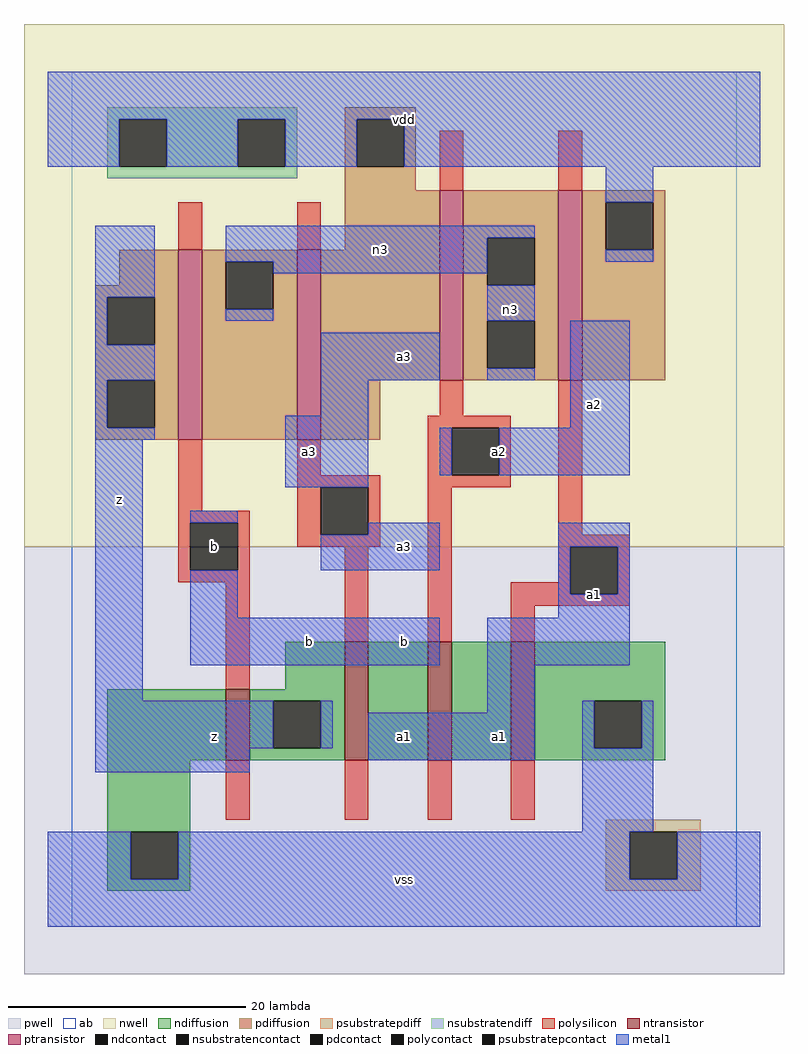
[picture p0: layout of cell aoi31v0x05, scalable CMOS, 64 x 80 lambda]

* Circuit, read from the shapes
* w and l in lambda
.subckt aoi31v0x05 a1 a2 a3 b n3 vdd vss z
M1 z b vss vss nfet w=6 l=2
M2 n1 a3 z vss nfet w=10 l=2
M3 n2 a2 n1 vss nfet w=10 l=2
M4 vss a1 n2 vss nfet w=10 l=2
M5 n3 b z vdd pfet w=16 l=2
M6 vdd a3 n3 vdd pfet w=16 l=2
M7 n3 a2 vdd vdd pfet w=16 l=2
M8 vdd a1 n3 vdd pfet w=16 l=2
.ends

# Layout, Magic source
magic
tech scmos
<< ab >>
rect 0 0 56 72
<< pwell >>
rect -4 -4 60 32
<< nwell >>
rect -4 32 60 76
<< polysilicon >>
rect 31 62 33 67
rect 41 62 43 67
rect 9 57 11 61
rect 19 57 21 61
rect 31 43 33 46
rect 30 42 37 43
rect 9 35 11 41
rect 19 38 21 41
rect 30 38 32 42
rect 36 38 37 42
rect 19 37 26 38
rect 9 34 15 35
rect 9 30 10 34
rect 14 30 15 34
rect 19 33 21 37
rect 25 33 26 37
rect 19 32 26 33
rect 30 37 37 38
rect 9 29 15 30
rect 13 20 15 29
rect 23 24 25 32
rect 30 24 32 37
rect 41 33 43 46
rect 41 32 47 33
rect 41 29 42 32
rect 37 28 42 29
rect 46 28 47 32
rect 37 27 47 28
rect 37 24 39 27
rect 13 9 15 14
rect 23 9 25 14
rect 30 9 32 14
rect 37 9 39 14
<< ndiffusion >>
rect 18 20 23 24
rect 3 14 13 20
rect 15 19 23 20
rect 15 15 17 19
rect 21 15 23 19
rect 15 14 23 15
rect 25 14 30 24
rect 32 14 37 24
rect 39 19 50 24
rect 39 15 44 19
rect 48 15 50 19
rect 39 14 50 15
rect 3 8 10 14
rect 3 4 5 8
rect 9 4 10 8
rect 3 3 10 4
<< pdiffusion >>
rect 23 68 29 69
rect 23 64 24 68
rect 28 64 29 68
rect 23 62 29 64
rect 23 57 31 62
rect 4 54 9 57
rect 2 53 9 54
rect 2 49 3 53
rect 7 49 9 53
rect 2 46 9 49
rect 2 42 3 46
rect 7 42 9 46
rect 2 41 9 42
rect 11 56 19 57
rect 11 52 13 56
rect 17 52 19 56
rect 11 41 19 52
rect 21 46 31 57
rect 33 58 41 62
rect 33 54 35 58
rect 39 54 41 58
rect 33 51 41 54
rect 33 47 35 51
rect 39 47 41 51
rect 33 46 41 47
rect 43 61 50 62
rect 43 57 45 61
rect 49 57 50 61
rect 43 46 50 57
rect 21 41 26 46
<< metal1 >>
rect -2 68 58 72
rect -2 64 4 68
rect 8 64 14 68
rect 18 64 24 68
rect 28 64 58 68
rect 45 61 49 64
rect 2 53 7 59
rect 2 49 3 53
rect 13 58 39 59
rect 13 56 35 58
rect 17 55 35 56
rect 13 51 17 52
rect 45 56 49 57
rect 35 51 39 54
rect 2 46 7 49
rect 2 42 3 46
rect 21 46 31 50
rect 35 46 39 47
rect 21 43 25 46
rect 2 41 7 42
rect 2 19 6 41
rect 18 37 25 43
rect 42 42 47 51
rect 31 38 32 42
rect 36 38 47 42
rect 10 34 14 35
rect 25 33 31 34
rect 21 30 31 33
rect 41 32 47 34
rect 10 26 14 30
rect 41 28 42 32
rect 46 28 47 32
rect 41 26 47 28
rect 10 22 31 26
rect 35 22 47 26
rect 2 15 17 19
rect 21 15 22 19
rect 35 18 39 22
rect 2 13 15 15
rect 25 14 39 18
rect 43 15 44 19
rect 48 15 49 19
rect 43 8 49 15
rect -2 4 5 8
rect 9 4 47 8
rect 51 4 58 8
rect -2 0 58 4
<< ntransistor >>
rect 13 14 15 20
rect 23 14 25 24
rect 30 14 32 24
rect 37 14 39 24
<< ptransistor >>
rect 9 41 11 57
rect 19 41 21 57
rect 31 46 33 62
rect 41 46 43 62
<< polycontact >>
rect 32 38 36 42
rect 10 30 14 34
rect 21 33 25 37
rect 42 28 46 32
<< ndcontact >>
rect 17 15 21 19
rect 44 15 48 19
rect 5 4 9 8
<< pdcontact >>
rect 24 64 28 68
rect 3 49 7 53
rect 3 42 7 46
rect 13 52 17 56
rect 35 54 39 58
rect 35 47 39 51
rect 45 57 49 61
<< psubstratepcontact >>
rect 47 4 51 8
<< nsubstratencontact >>
rect 4 64 8 68
rect 14 64 18 68
<< psubstratepdiff >>
rect 45 8 53 9
rect 45 4 47 8
rect 51 4 53 8
rect 45 3 53 4
<< nsubstratendiff >>
rect 3 68 19 69
rect 3 64 4 68
rect 8 64 14 68
rect 18 64 19 68
rect 3 63 19 64
<< labels >>
rlabel metal1 4 36 4 36 6 z
rlabel metal1 12 16 12 16 6 z
rlabel polycontact 12 32 12 32 6 b
rlabel metal1 28 4 28 4 6 vss
rlabel metal1 28 16 28 16 6 a1
rlabel metal1 20 24 20 24 6 b
rlabel metal1 28 24 28 24 6 b
rlabel metal1 28 32 28 32 6 a3
rlabel metal1 20 40 20 40 6 a3
rlabel metal1 28 48 28 48 6 a3
rlabel metal1 28 68 28 68 6 vdd
rlabel metal1 36 16 36 16 6 a1
rlabel metal1 44 28 44 28 6 a1
rlabel metal1 36 40 36 40 6 a2
rlabel metal1 44 44 44 44 6 a2
rlabel metal1 37 52 37 52 6 n3
rlabel metal1 26 57 26 57 6 n3
<< end >>
